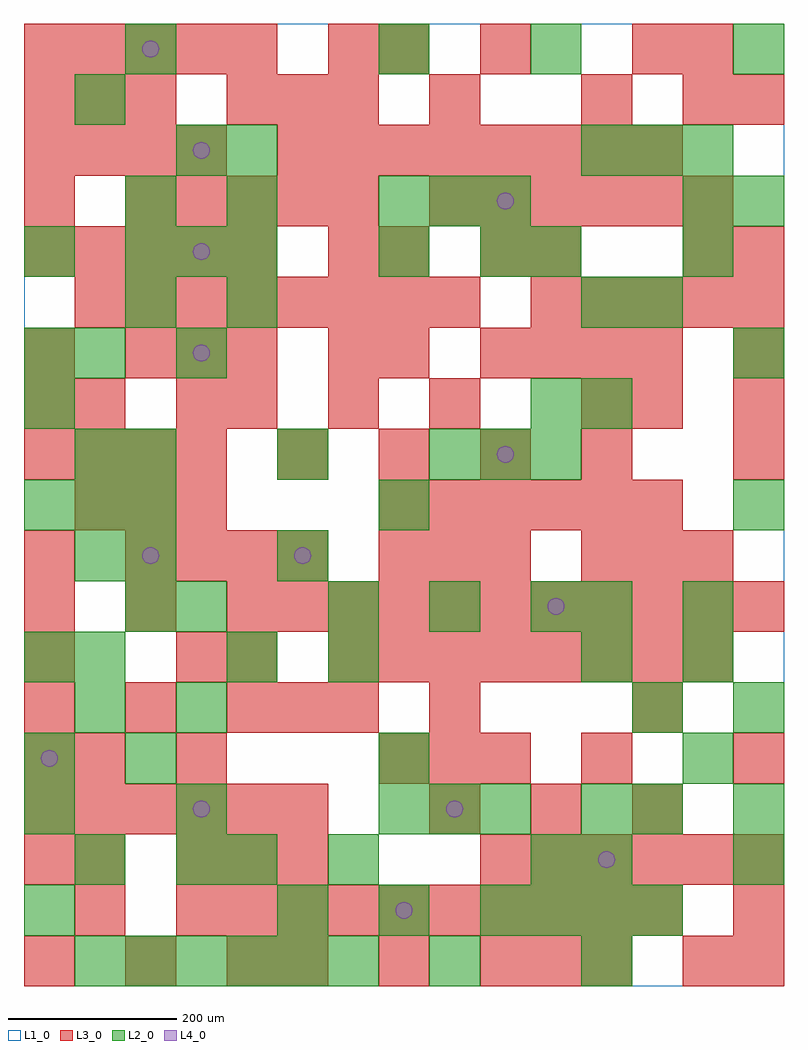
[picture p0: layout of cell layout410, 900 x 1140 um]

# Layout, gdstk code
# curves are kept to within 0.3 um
import gdstk
lib = gdstk.Library(unit=1e-6, precision=1e-09)
def R(c, l, rs):  # rectangles x0, y0, x1, y1
    for r in rs: c.add(gdstk.rectangle(r[:2], r[2:], *l))
def A(c, l, x, y, w, h, nx, ny, dx, dy):  # array of equal rectangles
    R(c, l, [(x+i*dx, y+j*dy, x+i*dx+w, y+j*dy+h) for i in range(nx) for j in range(ny)])
def P(c, l, *ps):  # polygons
    for p in ps: c.add(gdstk.Polygon(p, *l))
L1_0 = (1, 0)
L2_0 = (2, 0)
L3_0 = (3, 0)
L4_0 = (4, 0)

layout410 = lib.new_cell('layout410')
R(layout410, L1_0, [(0,0,900,1140)])
A(layout410, L2_0, 60, 0, 60, 60, 6, 1, 60, 0)
A(layout410, L2_0, 300, 60, 60, 60, 3, 1, 120, 0)
A(layout410, L2_0, 600, 60, 60, 60, 3, 1, 60, 0)
A(layout410, L2_0, 180, 180, 60, 60, 1, 3, 0, 120)
A(layout410, L2_0, 420, 180, 60, 60, 3, 2, 60, 720)
A(layout410, L2_0, 420, 240, 60, 60, 1, 3, 0, 300)
A(layout410, L2_0, 60, 360, 60, 60, 1, 4, 0, 120)
A(layout410, L2_0, 360, 420, 60, 60, 3, 1, 120, 0)
A(layout410, L2_0, 0, 540, 60, 60, 3, 1, 60, 0)
A(layout410, L2_0, 840, 540, 60, 60, 1, 4, 0, 180)
A(layout410, L2_0, 120, 600, 60, 60, 3, 1, 180, 0)
A(layout410, L2_0, 120, 840, 60, 60, 3, 1, 60, 0)
A(layout410, L2_0, 660, 960, 60, 60, 3, 1, 60, 0)
R(layout410, L2_0, [(480,0,540,60), (660,0,720,60), (0,60,60,120), (60,120,120,180), (180,120,240,180), (240,120,300,180), (360,120,420,180), (600,120,660,180), (660,120,720,180), (840,120,900,180), (0,180,60,240), (660,180,720,240), (720,180,780,240), (840,180,900,240), (0,240,60,300), (120,240,180,300), (780,240,840,300), (60,300,120,360), (720,300,780,360), (840,300,900,360), (0,360,60,420), (240,360,300,420), (360,360,420,420), (660,360,720,420), (780,360,840,420), (120,420,180,480), (660,420,720,480), (780,420,840,480), (120,480,180,540), (300,480,360,540), (540,600,600,660), (600,600,660,660), (0,660,60,720), (600,660,660,720), (660,660,720,720), (0,720,60,780), (180,720,240,780), (120,780,180,840), (240,780,300,840), (660,780,720,840), (720,780,780,840), (0,840,60,900), (540,840,600,900), (600,840,660,900), (780,840,840,900), (120,900,180,960), (240,900,300,960), (780,900,840,960), (180,960,240,1020), (240,960,300,1020), (60,1020,120,1080), (120,1080,180,1140), (420,1080,480,1140), (600,1080,660,1140)])
A(layout410, L3_0, 0, 0, 60, 60, 3, 2, 120, 300)
A(layout410, L3_0, 300, 0, 60, 60, 3, 1, 120, 0)
A(layout410, L3_0, 180, 60, 60, 60, 10, 1, 60, 0)
A(layout410, L3_0, 0, 120, 60, 60, 1, 4, 0, 120)
A(layout410, L3_0, 180, 120, 60, 60, 3, 1, 60, 0)
A(layout410, L3_0, 540, 120, 60, 60, 6, 1, 60, 0)
A(layout410, L3_0, 0, 180, 60, 60, 6, 1, 60, 0)
A(layout410, L3_0, 480, 180, 60, 60, 3, 1, 120, 0)
A(layout410, L3_0, 420, 240, 60, 60, 3, 2, 60, 240)
A(layout410, L3_0, 360, 360, 60, 60, 8, 1, 60, 0)
A(layout410, L3_0, 0, 420, 60, 60, 3, 1, 120, 0)
A(layout410, L3_0, 300, 420, 60, 60, 10, 1, 60, 0)
A(layout410, L3_0, 120, 480, 60, 60, 4, 1, 60, 0)
A(layout410, L3_0, 660, 480, 60, 60, 3, 1, 60, 0)
A(layout410, L3_0, 60, 540, 60, 60, 3, 1, 60, 0)
A(layout410, L3_0, 420, 540, 60, 60, 6, 1, 60, 0)
A(layout410, L3_0, 0, 600, 60, 60, 4, 2, 60, 360)
A(layout410, L3_0, 300, 600, 60, 60, 4, 1, 120, 0)
A(layout410, L3_0, 840, 600, 60, 60, 1, 3, 0, 60)
A(layout410, L3_0, 240, 660, 60, 60, 3, 1, 120, 0)
A(layout410, L3_0, 120, 720, 60, 60, 3, 1, 60, 0)
A(layout410, L3_0, 540, 720, 60, 60, 4, 1, 60, 0)
A(layout410, L3_0, 60, 780, 60, 60, 8, 1, 60, 0)
A(layout410, L3_0, 600, 780, 60, 60, 5, 1, 60, 0)
A(layout410, L3_0, 0, 840, 60, 60, 5, 2, 60, 240)
A(layout410, L3_0, 120, 900, 60, 60, 5, 1, 60, 0)
A(layout410, L3_0, 480, 900, 60, 60, 6, 1, 60, 0)
A(layout410, L3_0, 300, 960, 60, 60, 8, 1, 60, 0)
A(layout410, L3_0, 0, 1020, 60, 60, 3, 1, 60, 0)
A(layout410, L3_0, 240, 1020, 60, 60, 3, 1, 60, 0)
R(layout410, L3_0, [(600,0,660,60), (660,0,720,60), (780,0,840,60), (840,0,900,60), (60,60,120,120), (840,60,900,120), (60,120,120,180), (60,240,120,300), (180,240,240,300), (660,240,720,300), (840,240,900,300), (300,300,360,360), (360,300,420,360), (480,300,540,360), (720,300,780,360), (180,360,240,420), (240,360,300,420), (0,660,60,720), (60,660,120,720), (180,660,240,720), (660,660,720,720), (720,660,780,720), (0,720,60,780), (360,720,420,780), (420,720,480,780), (360,840,420,900), (420,840,480,900), (540,840,600,900), (600,840,660,900), (780,840,840,900), (840,840,900,900), (0,900,60,960), (480,1020,540,1080), (660,1020,720,1080), (780,1020,840,1080), (840,1020,900,1080), (360,1080,420,1140), (420,1080,480,1140), (540,1080,600,1140), (720,1080,780,1140), (780,1080,840,1140)])
P(layout410, L4_0, [(40,270),(39.239,273.827),(37.071,277.071),(33.827,279.239),(30,280),(26.173,279.239),(22.929,277.071),(20.761,273.827),(20,270),(20.761,266.173),(22.929,262.929),(26.173,260.761),(30,260),(33.827,260.761),(37.071,262.929),(39.239,266.173)],
  [(160,510),(159.239,513.827),(157.071,517.071),(153.827,519.239),(150,520),(146.173,519.239),(142.929,517.071),(140.761,513.827),(140,510),(140.761,506.173),(142.929,502.929),(146.173,500.761),(150,500),(153.827,500.761),(157.071,502.929),(159.239,506.173)],
  [(160,1110),(159.239,1113.827),(157.071,1117.071),(153.827,1119.239),(150,1120),(146.173,1119.239),(142.929,1117.071),(140.761,1113.827),(140,1110),(140.761,1106.173),(142.929,1102.929),(146.173,1100.761),(150,1100),(153.827,1100.761),(157.071,1102.929),(159.239,1106.173)],
  [(220,210),(219.239,213.827),(217.071,217.071),(213.827,219.239),(210,220),(206.173,219.239),(202.929,217.071),(200.761,213.827),(200,210),(200.761,206.173),(202.929,202.929),(206.173,200.761),(210,200),(213.827,200.761),(217.071,202.929),(219.239,206.173)],
  [(220,750),(219.239,753.827),(217.071,757.071),(213.827,759.239),(210,760),(206.173,759.239),(202.929,757.071),(200.761,753.827),(200,750),(200.761,746.173),(202.929,742.929),(206.173,740.761),(210,740),(213.827,740.761),(217.071,742.929),(219.239,746.173)],
  [(220,870),(219.239,873.827),(217.071,877.071),(213.827,879.239),(210,880),(206.173,879.239),(202.929,877.071),(200.761,873.827),(200,870),(200.761,866.173),(202.929,862.929),(206.173,860.761),(210,860),(213.827,860.761),(217.071,862.929),(219.239,866.173)],
  [(220,990),(219.239,993.827),(217.071,997.071),(213.827,999.239),(210,1000),(206.173,999.239),(202.929,997.071),(200.761,993.827),(200,990),(200.761,986.173),(202.929,982.929),(206.173,980.761),(210,980),(213.827,980.761),(217.071,982.929),(219.239,986.173)],
  [(340,510),(339.239,513.827),(337.071,517.071),(333.827,519.239),(330,520),(326.173,519.239),(322.929,517.071),(320.761,513.827),(320,510),(320.761,506.173),(322.929,502.929),(326.173,500.761),(330,500),(333.827,500.761),(337.071,502.929),(339.239,506.173)],
  [(460,90),(459.239,93.827),(457.071,97.071),(453.827,99.239),(450,100),(446.173,99.239),(442.929,97.071),(440.761,93.827),(440,90),(440.761,86.173),(442.929,82.929),(446.173,80.761),(450,80),(453.827,80.761),(457.071,82.929),(459.239,86.173)],
  [(520,210),(519.239,213.827),(517.071,217.071),(513.827,219.239),(510,220),(506.173,219.239),(502.929,217.071),(500.761,213.827),(500,210),(500.761,206.173),(502.929,202.929),(506.173,200.761),(510,200),(513.827,200.761),(517.071,202.929),(519.239,206.173)],
  [(580,630),(579.239,633.827),(577.071,637.071),(573.827,639.239),(570,640),(566.173,639.239),(562.929,637.071),(560.761,633.827),(560,630),(560.761,626.173),(562.929,622.929),(566.173,620.761),(570,620),(573.827,620.761),(577.071,622.929),(579.239,626.173)],
  [(580,930),(579.239,933.827),(577.071,937.071),(573.827,939.239),(570,940),(566.173,939.239),(562.929,937.071),(560.761,933.827),(560,930),(560.761,926.173),(562.929,922.929),(566.173,920.761),(570,920),(573.827,920.761),(577.071,922.929),(579.239,926.173)],
  [(640,450),(639.239,453.827),(637.071,457.071),(633.827,459.239),(630,460),(626.173,459.239),(622.929,457.071),(620.761,453.827),(620,450),(620.761,446.173),(622.929,442.929),(626.173,440.761),(630,440),(633.827,440.761),(637.071,442.929),(639.239,446.173)],
  [(700,150),(699.239,153.827),(697.071,157.071),(693.827,159.239),(690,160),(686.173,159.239),(682.929,157.071),(680.761,153.827),(680,150),(680.761,146.173),(682.929,142.929),(686.173,140.761),(690,140),(693.827,140.761),(697.071,142.929),(699.239,146.173)])

lib.write_gds('layout410.gds')
